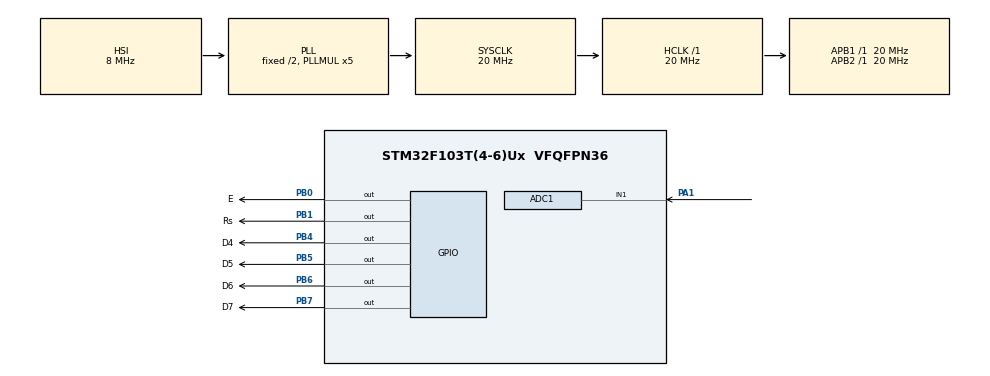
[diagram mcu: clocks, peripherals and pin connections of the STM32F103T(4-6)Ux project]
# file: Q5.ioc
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ADC1.Channel-2\#ChannelRegularConversion=ADC_CHANNEL_1
ADC1.NbrOfConversionFlag=1
ADC1.Rank-2\#ChannelRegularConversion=1
ADC1.SamplingTime-2\#ChannelRegularConversion=ADC_SAMPLETIME_1CYCLE_5
ADC1.master=1
Mcu.Family=STM32F1
Mcu.Name=STM32F103T(4-6)Ux
Mcu.Package=VFQFPN36
NVIC.PriorityGroup=NVIC_PRIORITYGROUP_4
PA1.Signal=ADCx_IN1
PB0.GPIO_Label=E
PB0.Signal=GPIO_Output
PB1.GPIO_Label=Rs
PB1.Signal=GPIO_Output
PB4.GPIO_Label=D4
PB4.Signal=GPIO_Output
PB5.GPIO_Label=D5
PB5.Signal=GPIO_Output
PB6.GPIO_Label=D6
PB6.Signal=GPIO_Output
PB7.GPIO_Label=D7
PB7.Signal=GPIO_Output
ProjectManager.HeapSize=0x200
ProjectManager.StackSize=0x400
ProjectManager.TargetToolchain=STM32CubeIDE
RCC.AHBFreq_Value=20000000
RCC.APB1Freq_Value=20000000
RCC.APB1TimFreq_Value=20000000
RCC.APB2Freq_Value=20000000
RCC.APB2TimFreq_Value=20000000
RCC.HCLKFreq_Value=20000000
RCC.PLLMUL=RCC_PLL_MUL5
RCC.SYSCLKFreq_VALUE=20000000
RCC.SYSCLKSource=RCC_SYSCLKSOURCE_PLLCLK
RCC.USBFreq_Value=20000000
SH.ADCx_IN1.0=ADC1_IN1,IN1
board=custom

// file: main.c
/* USER CODE BEGIN Header */
/**
  ******************************************************************************
  * @file           : main.c
  * @brief          : Main program body
  ******************************************************************************
  * @attention
  *
  * Copyright (c) 2023 STMicroelectronics.
  * All rights reserved.
  *
  * This software is licensed under terms that can be found in the LICENSE file
  * in the root directory of this software component.
  * If no LICENSE file comes with this software, it is provided AS-IS.
  *
  ******************************************************************************
  */
#include "lcd.h"
#include <stdio.h>

/* USER CODE END Header */
#include "main.h"

/* USER CODE BEGIN Includes */
Lcd_HandleTypeDef lcd;
Lcd_PinType Pins[] = {GPIO_PIN_4,GPIO_PIN_5,GPIO_PIN_6,GPIO_PIN_7};
Lcd_PortType Ports[] = {GPIOB,GPIOB,GPIOB,GPIOB};

/* USER CODE END Includes */

ADC_HandleTypeDef hadc1;

void SystemClock_Config(void);
static void MX_GPIO_Init(void);
static void MX_ADC1_Init(void);

/* USER CODE BEGIN 0 */
int adcValue;
/* USER CODE END 0 */

int main(void)
{
  /* USER CODE BEGIN 1 */
	char stra[16];
//	char strb[16];
//	float b ;
  /* USER CODE END 1 */

  /* MCU Configuration--------------------------------------------------------*/

  /* Reset of all peripherals, Initializes the Flash interface and the Systick. */
  HAL_Init();

  /* Configure the system clock */
  SystemClock_Config();

  /* Initialize all configured peripherals */
  MX_GPIO_Init();
  MX_ADC1_Init();
  /* USER CODE BEGIN 2 */
  lcd = Lcd_create(Ports, Pins, GPIOB, GPIO_PIN_1, GPIOB, GPIO_PIN_0, LCD_4_BIT_MODE);
  void intToBinaryString(int value, char* binaryStr, int bufferSize)
  {
      binaryStr[bufferSize - 1] = '\0';  // Null-terminate the string

      for (int i = bufferSize - 2; i >= 0; --i)
      {
          binaryStr[i] = (value & 1) ? '1' : '0';  // Set '1' if the bit is 1, '0' otherwise
          value >>= 1;  // Shift value right by 1 bit
      }
  }
  /* USER CODE END 2 */

  /* Infinite loop */
  /* USER CODE BEGIN WHILE */
  int wait_time = 5;
  while (1)
  {
	  HAL_ADC_Start(&hadc1);
	  if(HAL_ADC_PollForConversion(&hadc1,wait_time)==HAL_OK)
	  {
		  adcValue = HAL_ADC_GetValue(&hadc1);
	      char binaryStr[13];  // Assuming a 12-bit ADC
	      intToBinaryString(adcValue, binaryStr, sizeof(binaryStr));
		  Lcd_cursor(&lcd, 0, 0);
		  Lcd_string(&lcd, binaryStr);
		  float voltage = (float)adcValue * 3 / 4095.0f;  // Conversion formula

//		  sprintf(stra, "Voltage: %.2fV", voltage);  // Format the voltage value
	        int voltageInt = voltage * 100;
	        int voltageWhole = voltageInt / 100;
	        int voltageFraction = voltageInt % 100;

	        sprintf(stra, "Voltage: %d.%02dV", voltageWhole, voltageFraction);
		  Lcd_cursor(&lcd, 1, 0);
		  Lcd_string(&lcd, stra);
	  }
	  HAL_ADC_Stop(&hadc1);
	  HAL_Delay(100);
    /* USER CODE END WHILE */

  }
}

void SystemClock_Config(void)
{
  RCC_OscInitTypeDef RCC_OscInitStruct = {0};
  RCC_ClkInitTypeDef RCC_ClkInitStruct = {0};
  RCC_PeriphCLKInitTypeDef PeriphClkInit = {0};

  /** Initializes the RCC Oscillators according to the specified parameters
  * in the RCC_OscInitTypeDef structure.
  */
  RCC_OscInitStruct.OscillatorType = RCC_OSCILLATORTYPE_HSI;
  RCC_OscInitStruct.HSIState = RCC_HSI_ON;
  RCC_OscInitStruct.HSICalibrationValue = RCC_HSICALIBRATION_DEFAULT;
  RCC_OscInitStruct.PLL.PLLState = RCC_PLL_ON;
  RCC_OscInitStruct.PLL.PLLSource = RCC_PLLSOURCE_HSI_DIV2;
  RCC_OscInitStruct.PLL.PLLMUL = RCC_PLL_MUL5;
  if (HAL_RCC_OscConfig(&RCC_OscInitStruct) != HAL_OK)
  {
    Error_Handler();
  }

  /** Initializes the CPU, AHB and APB buses clocks
  */
  RCC_ClkInitStruct.ClockType = RCC_CLOCKTYPE_HCLK|RCC_CLOCKTYPE_SYSCLK
                              |RCC_CLOCKTYPE_PCLK1|RCC_CLOCKTYPE_PCLK2;
  RCC_ClkInitStruct.SYSCLKSource = RCC_SYSCLKSOURCE_PLLCLK;
  RCC_ClkInitStruct.AHBCLKDivider = RCC_SYSCLK_DIV1;
  RCC_ClkInitStruct.APB1CLKDivider = RCC_HCLK_DIV1;
  RCC_ClkInitStruct.APB2CLKDivider = RCC_HCLK_DIV1;

  if (HAL_RCC_ClockConfig(&RCC_ClkInitStruct, FLASH_LATENCY_0) != HAL_OK)
  {
    Error_Handler();
  }
  PeriphClkInit.PeriphClockSelection = RCC_PERIPHCLK_ADC;
  PeriphClkInit.AdcClockSelection = RCC_ADCPCLK2_DIV2;
  if (HAL_RCCEx_PeriphCLKConfig(&PeriphClkInit) != HAL_OK)
  {
    Error_Handler();
  }
}

static void MX_ADC1_Init(void)
{

  ADC_ChannelConfTypeDef sConfig = {0};

  /** Common config
  */
  hadc1.Instance = ADC1;
  hadc1.Init.ScanConvMode = ADC_SCAN_DISABLE;
  hadc1.Init.ContinuousConvMode = DISABLE;
  hadc1.Init.DiscontinuousConvMode = DISABLE;
  hadc1.Init.ExternalTrigConv = ADC_SOFTWARE_START;
  hadc1.Init.DataAlign = ADC_DATAALIGN_RIGHT;
  hadc1.Init.NbrOfConversion = 1;
  if (HAL_ADC_Init(&hadc1) != HAL_OK)
  {
    Error_Handler();
  }

  /** Configure Regular Channel
  */
  sConfig.Channel = ADC_CHANNEL_1;
  sConfig.Rank = ADC_REGULAR_RANK_1;
  sConfig.SamplingTime = ADC_SAMPLETIME_1CYCLE_5;
  if (HAL_ADC_ConfigChannel(&hadc1, &sConfig) != HAL_OK)
  {
    Error_Handler();
  }

}

static void MX_GPIO_Init(void)
{
  GPIO_InitTypeDef GPIO_InitStruct = {0};

  /* GPIO Ports Clock Enable */
  __HAL_RCC_GPIOA_CLK_ENABLE();
  __HAL_RCC_GPIOB_CLK_ENABLE();

  /*Configure GPIO pin Output Level */
  HAL_GPIO_WritePin(GPIOB, E_Pin|Rs_Pin|D4_Pin|D5_Pin
                          |D6_Pin|D7_Pin, GPIO_PIN_RESET);

  /*Configure GPIO pins : E_Pin Rs_Pin D4_Pin D5_Pin
                           D6_Pin D7_Pin */
  GPIO_InitStruct.Pin = E_Pin|Rs_Pin|D4_Pin|D5_Pin
                          |D6_Pin|D7_Pin;
  GPIO_InitStruct.Mode = GPIO_MODE_OUTPUT_PP;
  GPIO_InitStruct.Pull = GPIO_NOPULL;
  GPIO_InitStruct.Speed = GPIO_SPEED_FREQ_LOW;
  HAL_GPIO_Init(GPIOB, &GPIO_InitStruct);

}

void Error_Handler(void)
{
  __disable_irq();
  while (1)
  {
  }
}
